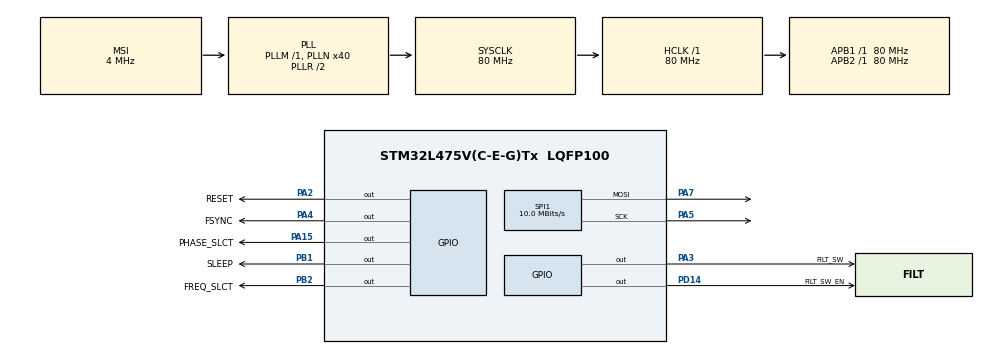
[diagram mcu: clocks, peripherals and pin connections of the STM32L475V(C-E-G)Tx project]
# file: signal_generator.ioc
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Mcu.Family=STM32L4
RCC.MSI_VALUE=4000000
RCC.CortexFreq_Value=80000000
PA7.Mode=TX_Only_Simplex_Unidirect_Master
SPI1.VirtualType=VM_MASTER
SPI1.CLKPhase=SPI_PHASE_1EDGE
PA15\ (JTDI).Signal=GPIO_Output
RCC.SYSCLKSource=RCC_SYSCLKSOURCE_PLLCLK
ProjectManager.StackSize=0x400
SPI1.CLKPolarity=SPI_POLARITY_HIGH
PA4.PinState=GPIO_PIN_SET
ProjectManager.TargetToolchain=STM32CubeIDE
SPI1.Direction=SPI_DIRECTION_2LINES
RCC.HCLKFreq_Value=80000000
RCC.APB2TimFreq_Value=80000000
SPI1.CalculateBaudRate=10.0 MBits/s
RCC.USBFreq_Value=48000000
RCC.LSE_VALUE=32768
RCC.AHBFreq_Value=80000000
PA5.Signal=SPI1_SCK
RCC.HSE_VALUE=8000000
PB2.Signal=GPIO_Output
board=B-L475E-IOT01A1
RCC.VCOOutputFreq_Value=160000000
PA2.PinState=GPIO_PIN_SET
RCC.APB2Freq_Value=80000000
SPI1.Mode=SPI_MODE_MASTER
PB1.GPIO_Label=SLEEP
RCC.ADCFreq_Value=48000000
SPI1.DataSize=SPI_DATASIZE_16BIT
PD14.GPIO_Label=FILT_SW_EN
PA15\ (JTDI).GPIO_Label=PHASE_SLCT
Mcu.Name=STM32L475V(C-E-G)Tx
PA2.Signal=GPIO_Output
PD14.Signal=GPIO_Output
PA4.Signal=GPIO_Output
RCC.SYSCLKFreq_VALUE=80000000
Mcu.Package=LQFP100
PB1.Signal=GPIO_Output
PA2.GPIO_Label=RESET
PB2.GPIO_Label=FREQ_SLCT
ProjectManager.HeapSize=0x200
RCC.HSI_VALUE=16000000
NVIC.PriorityGroup=NVIC_PRIORITYGROUP_4
RCC.PLLN=40
RCC.APB1TimFreq_Value=80000000
RCC.APB1Freq_Value=80000000
SPI1.BaudRatePrescaler=SPI_BAUDRATEPRESCALER_8
PA4.GPIO_Label=FSYNC
RCC.PLLSAI1N=24
PA3.GPIO_Label=FILT_SW
PA3.Signal=GPIO_Output
PA5.Mode=TX_Only_Simplex_Unidirect_Master
PA7.Signal=SPI1_MOSI

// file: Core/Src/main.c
/* USER CODE BEGIN Header */
/**
  ******************************************************************************
  * @file           : main.c
  * @brief          : Main program body
  ******************************************************************************
  * @attention
  *
  * <h2><center>&copy; Copyright (c) 2023 STMicroelectronics.
  * All rights reserved.</center></h2>
  *
  * This software component is licensed by ST under BSD 3-Clause license,
  * the "License"; You may not use this file except in compliance with the
  * License. You may obtain a copy of the License at:
  *                        opensource.org/licenses/BSD-3-Clause
  *
  ******************************************************************************
  */
/* USER CODE END Header */
#include "main.h"

/* USER CODE BEGIN Includes */
#include "AD9834.h"
/* USER CODE END Includes */

SPI_HandleTypeDef hspi1;

/* USER CODE BEGIN PV */
AD9834_Connection ad9834_connection;
/* USER CODE END PV */

void SystemClock_Config(void);
static void MX_GPIO_Init(void);
static void MX_SPI1_Init(void);
/* USER CODE BEGIN PFP */
void enable_elliptic_filter();
void enable_linear_phase_filter();
void enable_filter_switch();
void disable_filter_switch();
/* USER CODE END PFP */

int main(void)
{

  /* MCU Configuration--------------------------------------------------------*/

  /* Reset of all peripherals, Initializes the Flash interface and the Systick. */
  HAL_Init();

  /* Configure the system clock */
  SystemClock_Config();

  /* Initialize all configured peripherals */
  MX_GPIO_Init();
  MX_SPI1_Init();
  /* USER CODE BEGIN 2 */

  ad9834_connection.hspi = &hspi1;
  ad9834_connection.fsync_gpio = GPIOA;
  ad9834_connection.sleep_gpio = GPIOB;
  ad9834_connection.reset_gpio = GPIOA;
  ad9834_connection.phase_select_gpio = GPIOA;
  ad9834_connection.freq_select_gpio = GPIOB;
  ad9834_connection.fsync_pin = FSYNC_Pin;
  ad9834_connection.sleep_pin = SLEEP_Pin;
  ad9834_connection.reset_pin = RESET_Pin;
  ad9834_connection.phase_select_pin = PHASE_SLCT_Pin;
  ad9834_connection.freq_select_pin = FREQ_SLCT_Pin;

  AD9834_init(&ad9834_connection);

  // --------------------------------------------------
  // ------- Max Frequency Sine wave Test START -------
  // --------------------------------------------------

  AD9834_set_frequency(&ad9834_connection, 17000000, 0);
  AD9834_set_phase(&ad9834_connection, 0, 0);
  enable_filter_switch();
  enable_elliptic_filter();
  AD9834_set_sinusoidal_output(&ad9834_connection);
  AD9834_reset_pin_disable(&ad9834_connection);

  // ------- Max Frequency Sine wave Test END -------

  // -------------------------------------------------
  // -------- Triangle Wave Output Test START --------
  // -------------------------------------------------

//  AD9834_set_frequency(&ad9834_connection, 3600000, 0);
//  AD9834_set_phase(&ad9834_connection, 0, 0);
//  enable_filter_switch();
//  enable_linear_phase_filter();
//  AD9834_set_triangle_output(&ad9834_connection);
//  AD9834_reset_pin_disable(&ad9834_connection);

  // -------- Triangle Wave Output Test END --------

  // -----------------------------------------------
  // -------- Square Wave Output Test START --------
  // -------------------------------------------------

//    AD9834_set_frequency(&ad9834_connection, 300000, 0);
//    AD9834_set_phase(&ad9834_connection, 0, 0);
//    enable_filter_switch();
//    enable_elliptic_filter();
//    AD9834_set_square_output(&ad9834_connection);
//    AD9834_reset_pin_disable(&ad9834_connection);

  // -------- Square Wave Output Test END --------

  // -----------------------------------------------
  // -------- Frequency Register Test START --------
  // ------------------------------------------------

//    AD9834_set_frequency(&ad9834_connection, 1000, 0);
//    AD9834_set_frequency(&ad9834_connection, 300, 1);
//    AD9834_set_phase(&ad9834_connection, 0, 0);
//    enable_filter_switch();
//    enable_elliptic_filter();
//    AD9834_set_sinusoidal_output(&ad9834_connection);
//    AD9834_reset_pin_disable(&ad9834_connection);

  // -------- Frequency Register Test END --------

  // -------------------------------------------
  // -------- Phase Register Test START --------
  // -------------------------------------------

//  AD9834_set_frequency(&ad9834_connection, 1000, 0);
//  AD9834_set_phase(&ad9834_connection, 0, 0);
//  AD9834_set_phase(&ad9834_connection, 180, 1);
//  enable_filter_switch();
//  enable_elliptic_filter();
//  AD9834_set_sinusoidal_output(&ad9834_connection);
//  AD9834_reset_pin_disable(&ad9834_connection);

  // -------- Phase Register Test END --------

  // -------------------------------------------
  // -------- Power Supply Test START ----------
  // -------------------------------------------

//  AD9834_set_frequency(&ad9834_connection, 1000000, 0);
//  AD9834_set_phase(&ad9834_connection, 0, 0);
//  enable_filter_switch();
//  enable_elliptic_filter();
//  AD9834_set_sinusoidal_output(&ad9834_connection);
//  AD9834_reset_pin_disable(&ad9834_connection);

  // -------- Power Supply Test END ----------

  /* USER CODE END 2 */

  /* Infinite loop */
  /* USER CODE BEGIN WHILE */
  while (1)
  {
	  // --------------------------------------------------
	  // ------- Max Frequency Sine wave Test START -------
	  // --------------------------------------------------

	  // ------- Max Frequency Sine wave Test END -------

	  // -------------------------------------------------
	  // -------- Triangle Wave Output Test START --------
	  // -------------------------------------------------

//	  HAL_Delay(8000);
//	  enable_elliptic_filter();
//	  HAL_Delay(8000);
//	  enable_linear_phase_filter();

	  // -------- Triangle Wave Output Test START --------

	  // -----------------------------------------------
	  // -------- Square Wave Output Test START --------
	  // -----------------------------------------------

	  // -------- Square Wave Output Test END --------

	  // -----------------------------------------------
	  // -------- Frequency Register Test START --------
	  // -----------------------------------------------

//	  HAL_Delay(10);
//	  AD9834_frequency_register0_pin(&ad9834_connection);
//	  HAL_Delay(10);
//	  AD9834_frequency_register1_pin(&ad9834_connection);

	  // -------- Frequency Register Test END --------

	  // -------------------------------------------
	  // -------- Phase Register Test START --------
	  // -------------------------------------------

//	  HAL_Delay(3);
//	  AD9834_phase_register0_pin(&ad9834_connection);
//	  HAL_Delay(3);
//	  AD9834_phase_register1_pin(&ad9834_connection);

	  // -------- Phase Register Test END --------

	  // -------------------------------------------
	  // -------- Power Supply Test START ----------
	  // -------------------------------------------

	  // -------- Power Supply Test END ----------

    /* USER CODE END WHILE */

  }
}

void SystemClock_Config(void)
{
  RCC_OscInitTypeDef RCC_OscInitStruct = {0};
  RCC_ClkInitTypeDef RCC_ClkInitStruct = {0};

  /** Initializes the RCC Oscillators according to the specified parameters
  * in the RCC_OscInitTypeDef structure.
  */
  RCC_OscInitStruct.OscillatorType = RCC_OSCILLATORTYPE_MSI;
  RCC_OscInitStruct.MSIState = RCC_MSI_ON;
  RCC_OscInitStruct.MSICalibrationValue = 0;
  RCC_OscInitStruct.MSIClockRange = RCC_MSIRANGE_6;
  RCC_OscInitStruct.PLL.PLLState = RCC_PLL_ON;
  RCC_OscInitStruct.PLL.PLLSource = RCC_PLLSOURCE_MSI;
  RCC_OscInitStruct.PLL.PLLM = 1;
  RCC_OscInitStruct.PLL.PLLN = 40;
  RCC_OscInitStruct.PLL.PLLP = RCC_PLLP_DIV7;
  RCC_OscInitStruct.PLL.PLLQ = RCC_PLLQ_DIV2;
  RCC_OscInitStruct.PLL.PLLR = RCC_PLLR_DIV2;
  if (HAL_RCC_OscConfig(&RCC_OscInitStruct) != HAL_OK)
  {
    Error_Handler();
  }
  /** Initializes the CPU, AHB and APB buses clocks
  */
  RCC_ClkInitStruct.ClockType = RCC_CLOCKTYPE_HCLK|RCC_CLOCKTYPE_SYSCLK
                              |RCC_CLOCKTYPE_PCLK1|RCC_CLOCKTYPE_PCLK2;
  RCC_ClkInitStruct.SYSCLKSource = RCC_SYSCLKSOURCE_PLLCLK;
  RCC_ClkInitStruct.AHBCLKDivider = RCC_SYSCLK_DIV1;
  RCC_ClkInitStruct.APB1CLKDivider = RCC_HCLK_DIV1;
  RCC_ClkInitStruct.APB2CLKDivider = RCC_HCLK_DIV1;

  if (HAL_RCC_ClockConfig(&RCC_ClkInitStruct, FLASH_LATENCY_4) != HAL_OK)
  {
    Error_Handler();
  }
  /** Configure the main internal regulator output voltage
  */
  if (HAL_PWREx_ControlVoltageScaling(PWR_REGULATOR_VOLTAGE_SCALE1) != HAL_OK)
  {
    Error_Handler();
  }
}

static void MX_SPI1_Init(void)
{

  /* SPI1 parameter configuration*/
  hspi1.Instance = SPI1;
  hspi1.Init.Mode = SPI_MODE_MASTER;
  hspi1.Init.Direction = SPI_DIRECTION_2LINES;
  hspi1.Init.DataSize = SPI_DATASIZE_16BIT;
  hspi1.Init.CLKPolarity = SPI_POLARITY_HIGH;
  hspi1.Init.CLKPhase = SPI_PHASE_1EDGE;
  hspi1.Init.NSS = SPI_NSS_SOFT;
  hspi1.Init.BaudRatePrescaler = SPI_BAUDRATEPRESCALER_8;
  hspi1.Init.FirstBit = SPI_FIRSTBIT_MSB;
  hspi1.Init.TIMode = SPI_TIMODE_DISABLE;
  hspi1.Init.CRCCalculation = SPI_CRCCALCULATION_DISABLE;
  hspi1.Init.CRCPolynomial = 7;
  hspi1.Init.CRCLength = SPI_CRC_LENGTH_DATASIZE;
  hspi1.Init.NSSPMode = SPI_NSS_PULSE_ENABLE;
  if (HAL_SPI_Init(&hspi1) != HAL_OK)
  {
    Error_Handler();
  }

}

static void MX_GPIO_Init(void)
{
  GPIO_InitTypeDef GPIO_InitStruct = {0};

  /* GPIO Ports Clock Enable */
  __HAL_RCC_GPIOA_CLK_ENABLE();
  __HAL_RCC_GPIOB_CLK_ENABLE();
  __HAL_RCC_GPIOD_CLK_ENABLE();

  /*Configure GPIO pin Output Level */
  HAL_GPIO_WritePin(GPIOA, RESET_Pin|FSYNC_Pin, GPIO_PIN_SET);

  /*Configure GPIO pin Output Level */
  HAL_GPIO_WritePin(GPIOA, FILT_SW_Pin|PHASE_SLCT_Pin, GPIO_PIN_RESET);

  /*Configure GPIO pin Output Level */
  HAL_GPIO_WritePin(GPIOB, SLEEP_Pin|FREQ_SLCT_Pin, GPIO_PIN_RESET);

  /*Configure GPIO pin Output Level */
  HAL_GPIO_WritePin(FILT_SW_EN_GPIO_Port, FILT_SW_EN_Pin, GPIO_PIN_RESET);

  /*Configure GPIO pins : RESET_Pin FILT_SW_Pin FSYNC_Pin PHASE_SLCT_Pin */
  GPIO_InitStruct.Pin = RESET_Pin|FILT_SW_Pin|FSYNC_Pin|PHASE_SLCT_Pin;
  GPIO_InitStruct.Mode = GPIO_MODE_OUTPUT_PP;
  GPIO_InitStruct.Pull = GPIO_NOPULL;
  GPIO_InitStruct.Speed = GPIO_SPEED_FREQ_LOW;
  HAL_GPIO_Init(GPIOA, &GPIO_InitStruct);

  /*Configure GPIO pins : SLEEP_Pin FREQ_SLCT_Pin */
  GPIO_InitStruct.Pin = SLEEP_Pin|FREQ_SLCT_Pin;
  GPIO_InitStruct.Mode = GPIO_MODE_OUTPUT_PP;
  GPIO_InitStruct.Pull = GPIO_NOPULL;
  GPIO_InitStruct.Speed = GPIO_SPEED_FREQ_LOW;
  HAL_GPIO_Init(GPIOB, &GPIO_InitStruct);

  /*Configure GPIO pin : FILT_SW_EN_Pin */
  GPIO_InitStruct.Pin = FILT_SW_EN_Pin;
  GPIO_InitStruct.Mode = GPIO_MODE_OUTPUT_PP;
  GPIO_InitStruct.Pull = GPIO_NOPULL;
  GPIO_InitStruct.Speed = GPIO_SPEED_FREQ_LOW;
  HAL_GPIO_Init(FILT_SW_EN_GPIO_Port, &GPIO_InitStruct);

}

/* USER CODE BEGIN 4 */
void enable_elliptic_filter() {
	HAL_GPIO_WritePin(FILT_SW_GPIO_Port, FILT_SW_Pin, GPIO_PIN_SET);
}

void enable_linear_phase_filter() {
	HAL_GPIO_WritePin(FILT_SW_GPIO_Port, FILT_SW_Pin, GPIO_PIN_RESET);
}

void enable_filter_switch() {
	HAL_GPIO_WritePin(FILT_SW_EN_GPIO_Port, FILT_SW_EN_Pin, GPIO_PIN_SET);
}

void disable_filter_switch() {
	HAL_GPIO_WritePin(FILT_SW_EN_GPIO_Port, FILT_SW_EN_Pin, GPIO_PIN_RESET);
}
/* USER CODE END 4 */

void Error_Handler(void)
{
  __disable_irq();
  while (1)
  {
  }
}

/************************ (C) COPYRIGHT STMicroelectronics *****END OF FILE****/
